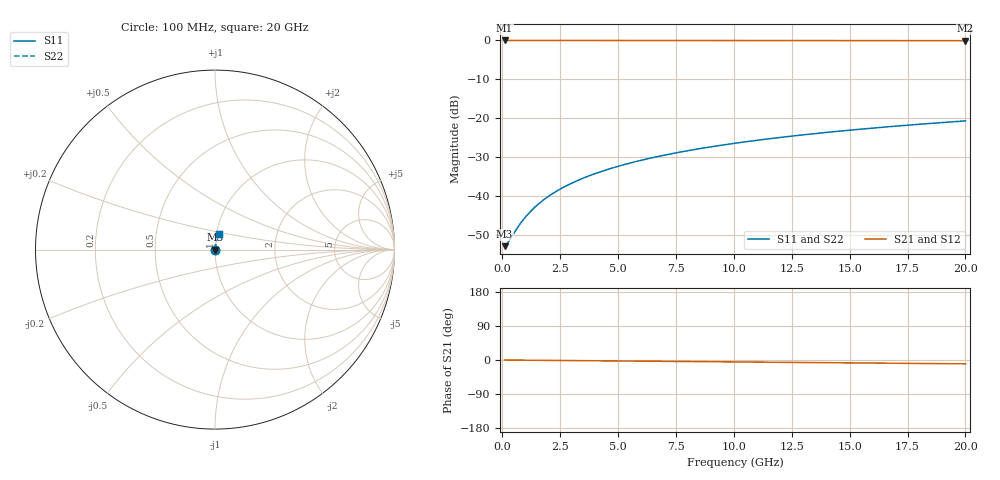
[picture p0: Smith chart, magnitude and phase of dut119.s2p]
! Touchstone file exported from HFSS 2026.1.0
!  File:  C:/ffzhzh/LocalFiles/Ansys_Project_Files/temp_train_TSV_119_1782989890_41620.aedt
!  Generated:  07:00:36 PM Jul  2, 2026
!  Design:  TSV
!  Project:  temp_train_TSV_119_1782989890_41620
! Variables:
!  h_bsmrdl = 2um
!  h_ox = 20um
!  h_rdl = 5um
!  h_sub = 91.91um
!  h_tmrdl = 5um
!  h_tsv = 91.91um
!  h_via = 3um
!  l_bsmrdl = 300um
!  l_sub = 404.38um
!  l_tmrdl = 200um
!  m_sub = 200um
!  pitch = 23.63um
!  r_tsv = 2.19um
!  s_tmrdl = 10um
!  w_bsmrdl = 18um
!  w_sub = 500um
!  w_tmrdl = 12um
!  x_tsv_center1 = 206um
!  x_tsv_center2 = 524um
!  x_tsv_center3 = 736um
!  x_tsv_center4 = 1054um
!  x_tsv_center5 = 1266um
!  x_tsv_center6 = 1584um
# GHz S MA R 50.000000
! Terminal data exported
! Port[1] = TSV1_1_T1
! Port[2] = TSV1_1_T2
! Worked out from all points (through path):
!   200 points, 100 MHz to 20 GHz, reference 50 ohm
!   highest |S21| = -0.02 dB at 100 MHz (marker M1); lowest = -0.1 dB at 20 GHz (marker M2)
!   group delay of S21, straight-line fit = 1.41 ps
!   lowest |S11| = -53.0 dB at 100 MHz (marker M3), VSWR 1.00, Z = 50.2 + j0.0488 ohm
!   |S11| at or under -10 dB: start of sweep to end of sweep
!   |S22| runs from -53.0 to -20.7 dB; largest |S21 - S12| = 3.1e-15
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0.1  0.002243 12.5  0.9978 -0.1  0.9978 -0.1  0.002243 12.5
! Gamma 0 0 0 0
! Port Impedance 50 0 50 0
0.2  0.0024 23.9  0.9978 -0.1  0.9978 -0.1  0.0024 23.9
0.3  0.00264 33.4  0.9978 -0.2  0.9978 -0.2  0.00264 33.4
0.6  0.003659 52.3  0.9978 -0.3  0.9978 -0.3  0.003659 52.3
0.8  0.004465 59.5  0.9978 -0.4  0.9978 -0.4  0.004465 59.5
0.9  0.004887 62.2  0.9977 -0.5  0.9977 -0.5  0.004887 62.2
1.2  0.006198 67.9  0.9977 -0.6  0.9977 -0.6  0.006198 67.9
1.5  0.00755 71.6  0.9977 -0.8  0.9977 -0.8  0.00755 71.6
1.9  0.009387 74.8  0.9976 -1.0  0.9976 -1.0  0.009387 74.8
2.4  0.01171 77.2  0.9976 -1.2  0.9976 -1.2  0.01171 77.2
2.9  0.01405 78.8  0.9975 -1.5  0.9975 -1.5  0.01405 78.8
3.5  0.01687 79.9  0.9974 -1.8  0.9974 -1.8  0.01687 79.9
4.2  0.02017 80.7  0.9973 -2.2  0.9973 -2.2  0.02017 80.7
5  0.02393 81.2  0.9971 -2.6  0.9971 -2.6  0.02393 81.2
5.9  0.02816 81.4  0.9969 -3.0  0.9969 -3.0  0.02816 81.4
6.8  0.03237 81.5  0.9966 -3.5  0.9966 -3.5  0.03237 81.5
8.3  0.03934 81.2  0.9962 -4.3  0.9962 -4.3  0.03934 81.2
10.1  0.04764 80.7  0.9955 -5.2  0.9955 -5.2  0.04764 80.7
11.7  0.05495 80.2  0.9948 -6.0  0.9948 -6.0  0.05495 80.2
13.4  0.06265 79.5  0.9941 -6.8  0.9941 -6.8  0.06265 79.5
16.7  0.0774 78.2  0.9925 -8.5  0.9925 -8.5  0.0774 78.2
20  0.09193 76.7  0.9907 -10.1  0.9907 -10.1  0.09193 76.7
